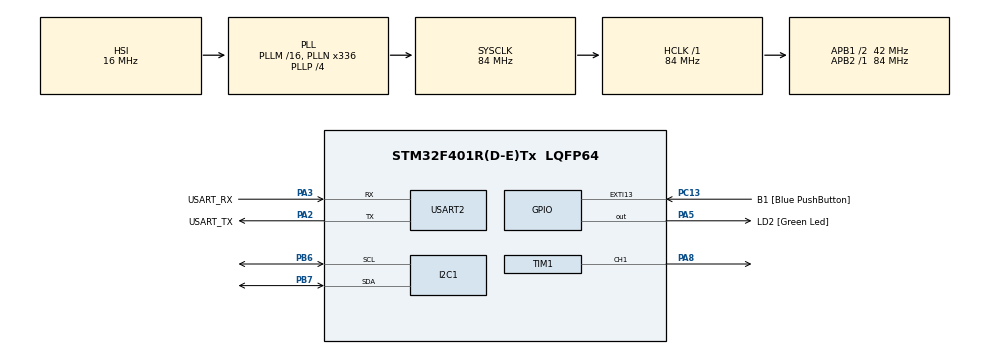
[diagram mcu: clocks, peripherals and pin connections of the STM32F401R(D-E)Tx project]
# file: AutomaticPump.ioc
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Mcu.Family=STM32F4
Mcu.Name=STM32F401R(D-E)Tx
Mcu.Package=LQFP64
NVIC.PriorityGroup=NVIC_PRIORITYGROUP_0
PA13.GPIO_Label=TMS
PA13.Mode=Serial_Wire
PA13.Signal=SYS_JTMS-SWDIO
PA14.GPIO_Label=TCK
PA14.Mode=Serial_Wire
PA14.Signal=SYS_JTCK-SWCLK
PA2.GPIO_Label=USART_TX
PA2.GPIO_Mode=GPIO_MODE_AF_PP
PA2.GPIO_PuPd=GPIO_NOPULL
PA2.GPIO_Speed=GPIO_SPEED_FREQ_LOW
PA2.Mode=Asynchronous
PA2.Signal=USART2_TX
PA3.GPIO_Label=USART_RX
PA3.GPIO_Mode=GPIO_MODE_AF_PP
PA3.GPIO_PuPd=GPIO_NOPULL
PA3.GPIO_Speed=GPIO_SPEED_FREQ_LOW
PA3.Mode=Asynchronous
PA3.Signal=USART2_RX
PA5.GPIO_Label=LD2 [Green Led]
PA5.GPIO_Mode=GPIO_MODE_OUTPUT_PP
PA5.GPIO_PuPd=GPIO_NOPULL
PA5.GPIO_Speed=GPIO_SPEED_FREQ_LOW
PA5.Signal=GPIO_Output
PA8.Signal=S_TIM1_CH1
PB3.GPIO_Label=SWO
PB3.Signal=SYS_JTDO-SWO
PB6.Mode=I2C
PB6.Signal=I2C1_SCL
PB7.Mode=I2C
PB7.Signal=I2C1_SDA
PC13-ANTI_TAMP.GPIO_Label=B1 [Blue PushButton]
PC13-ANTI_TAMP.GPIO_ModeDefaultEXTI=GPIO_MODE_IT_FALLING
PC13-ANTI_TAMP.GPIO_PuPd=GPIO_NOPULL
PC13-ANTI_TAMP.Signal=GPXTI13
PC14-OSC32_IN.Mode=LSE-External-Oscillator
PC14-OSC32_IN.Signal=RCC_OSC32_IN
PC15-OSC32_OUT.Mode=LSE-External-Oscillator
PC15-OSC32_OUT.Signal=RCC_OSC32_OUT
PH0\ -\ OSC_IN.Mode=HSE-External-Clock-Source
PH0\ -\ OSC_IN.Signal=RCC_OSC_IN
PH1\ -\ OSC_OUT.Mode=HSE-External-Clock-Source
PH1\ -\ OSC_OUT.Signal=RCC_OSC_OUT
ProjectManager.HeapSize=0x200
ProjectManager.StackSize=0x400
ProjectManager.TargetToolchain=STM32CubeIDE
RCC.48MHZClocksFreq_Value=48000000
RCC.AHBFreq_Value=84000000
RCC.APB1CLKDivider=RCC_HCLK_DIV2
RCC.APB1Freq_Value=42000000
RCC.APB1TimFreq_Value=84000000
RCC.APB2Freq_Value=84000000
RCC.APB2TimFreq_Value=84000000
RCC.CortexFreq_Value=84000000
RCC.HCLKFreq_Value=84000000
RCC.HSE_VALUE=8000000
RCC.HSI_VALUE=16000000
RCC.PLLN=336
RCC.PLLP=RCC_PLLP_DIV4
RCC.PLLQ=7
RCC.SYSCLKFreq_VALUE=84000000
RCC.SYSCLKSource=RCC_SYSCLKSOURCE_PLLCLK
RCC.VCOOutputFreq_Value=336000000
SH.S_TIM1_CH1.0=TIM1_CH1,Output Compare1 CH1
TIM1.Channel-Output\ Compare1\ CH1=TIM_CHANNEL_1
USART2.VirtualMode=VM_ASYNC
board=NUCLEO-F401RE

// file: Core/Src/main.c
/* USER CODE BEGIN Header */
/**
  ******************************************************************************
  * @file           : main.c
  * @brief          : Main program body
  ******************************************************************************
  * @attention
  *
  * Copyright (c) 2024 STMicroelectronics.
  * All rights reserved.
  *
  * This software is licensed under terms that can be found in the LICENSE file
  * in the root directory of this software component.
  * If no LICENSE file comes with this software, it is provided AS-IS.
  *
  ******************************************************************************
  */
/* USER CODE END Header */
#include "main.h"

I2C_HandleTypeDef hi2c1;

TIM_HandleTypeDef htim1;

UART_HandleTypeDef huart2;

void SystemClock_Config(void);
static void MX_GPIO_Init(void);
static void MX_USART2_UART_Init(void);
static void MX_I2C1_Init(void);
static void MX_TIM1_Init(void);

/* USER CODE BEGIN 0 */
TIM_HandleTypeDef htim1;
I2C_HandleTypeDef hi2c1;

#define START_HOUR_1   8   // Start hour for interval 1
#define START_MINUTE_1 0   // Start minute for interval 1
#define DURATION_1     10  // Duration in minutes for interval 1

#define START_HOUR_2   16  // Start hour for interval 2
#define START_MINUTE_2 31  // Start minute for interval 2
#define DURATION_2     2   // Duration in minutes for interval 2

// Reads the registers of the of the connected RTC device
// Connected on I2C1 SDA and SCL lines
uint8_t ReadRTCRegister(uint8_t register_address)
{
    uint8_t data;
    HAL_StatusTypeDef status = HAL_I2C_Mem_Read(&hi2c1, 0x68 << 1, register_address, I2C_MEMADD_SIZE_8BIT, &data, 1, HAL_MAX_DELAY);
    if (status != HAL_OK)
    {
        printf("Error reading register 0x%02X\n", register_address);
        return 0xFF; // Return error code
    }
    return data;
}

// Reads and returns the seconds, minutes and, hours of the RTC
void ReadRTC(uint8_t *hours, uint8_t *minutes, uint8_t *seconds)
{
    // Read RTC registers
    uint8_t reg_seconds = ReadRTCRegister(0x00);
    uint8_t reg_minutes = ReadRTCRegister(0x01);
    uint8_t reg_hours = ReadRTCRegister(0x02);

    // Convert BCD to decimal
    *seconds = ((reg_seconds >> 4) * 10) + (reg_seconds & 0x0F);
    *minutes = ((reg_minutes >> 4) * 10) + (reg_minutes & 0x0F);
    *hours = ((reg_hours >> 4) * 10) + (reg_hours & 0x0F);
}

// Configurations of the PWM pins for the connected MOSFET
// Connected on TIM1_CH1
void ConfigureTIM1ForPWM(void)
{
    TIM_OC_InitTypeDef sConfigOC = {0};

    // Configure TIM1 for PWM mode
    sConfigOC.OCMode = TIM_OCMODE_PWM1;
    sConfigOC.Pulse = __HAL_TIM_GET_AUTORELOAD(&htim1); // Full duty cycle (match auto-reload value)
    sConfigOC.OCPolarity = TIM_OCPOLARITY_HIGH;
    sConfigOC.OCNPolarity = TIM_OCNPOLARITY_HIGH;
    sConfigOC.OCFastMode = TIM_OCFAST_DISABLE;
    sConfigOC.OCIdleState = TIM_OCIDLESTATE_RESET;
    sConfigOC.OCNIdleState = TIM_OCNIDLESTATE_RESET;

    // Initialize TIM1 with PWM settings
    if (HAL_TIM_PWM_ConfigChannel(&htim1, &sConfigOC, TIM_CHANNEL_1) != HAL_OK)
    {
        Error_Handler();
    }

}

// Function to check if current time matches the trigger times
static uint8_t active_interval = 0; // 0: none, 1: interval 1, 2: interval 2
static uint8_t timer_active = 0;

// Checks the time and triggers the TIM1_CH1 PWM line to trigger the stepper pump
void CheckAndTriggerTimer(void)
{
    uint8_t hours, minutes, seconds;
    ReadRTC(&hours, &minutes, &seconds);

    // Determine if the current time matches any of the start times
    uint8_t is_start_time_1 = (hours == START_HOUR_1 && minutes == START_MINUTE_1);
    uint8_t is_start_time_2 = (hours == START_HOUR_2 && minutes == START_MINUTE_2);

    if ((is_start_time_1 || is_start_time_2) && !timer_active)
    {
        uint8_t start_hours = hours;
        uint8_t start_minutes = minutes;
        uint8_t start_seconds = seconds;

        ConfigureTIM1ForPWM();
        HAL_TIM_PWM_Start(&htim1, TIM_CHANNEL_1); // Start PWM

        timer_active = 1;

        if (is_start_time_1) {
            active_interval = 1;
        } else if (is_start_time_2) {
            active_interval = 2;
        }

        while (1)
        {
            ReadRTC(&hours, &minutes, &seconds);

            // Calculate the total elapsed minutes
            int elapsed_minutes = (hours - start_hours) * 60 + (minutes - start_minutes);

            // Check if the duration for the active interval has passed
            if ((active_interval == 1 && elapsed_minutes >= DURATION_1) ||
                (active_interval == 2 && elapsed_minutes >= DURATION_2))
            {
                HAL_TIM_PWM_Stop(&htim1, TIM_CHANNEL_1); // Ensure PWM is stopped
                HAL_Delay(1000); // Adjust delay as necessary
                timer_active = 0;
                active_interval = 0; // Reset active interval
                break; // Exit the loop
            }

            HAL_Delay(1000); // Adjust delay as necessary
        }
    }
}

// Power up function to prime the system at power failure
void PowerUp(void)
{
    uint8_t start_hours, start_minutes, start_seconds;
    ReadRTC(&start_hours, &start_minutes, &start_seconds);

    uint8_t current_hours, current_minutes, current_seconds;

    // Configure TIM1 for PWM
    ConfigureTIM1ForPWM();
    HAL_TIM_PWM_Start(&htim1, TIM_CHANNEL_1); // Start PWM

    // Poll until 10 minutes have passed
    while (1)
    {
        ReadRTC(&current_hours, &current_minutes, &current_seconds);

        // Calculate the total elapsed minutes
        int elapsed_minutes = (current_hours - start_hours) * 60 + (current_minutes - start_minutes);

        // Check if 10 minutes have passed
        if (elapsed_minutes >= 1)
        {
            // Stop PWM
        	HAL_TIM_PWM_Stop(&htim1, TIM_CHANNEL_1); // Ensure PWM is stopped
            HAL_Delay(1000); // Adjust delay as necessary
            break; // Exit the loop to proceed to the main while loop
        }

        // Add a short delay to avoid excessive polling
        HAL_Delay(1000); // Adjust delay as necessary
    }
}

void HandleButtonPress(void)
{
    static uint8_t button_pressed = 0; // Static variable to maintain state across function calls
    static uint32_t last_press_time = 0; // Store the last button press time

    if (HAL_GPIO_ReadPin(GPIOC, B1_Pin) == GPIO_PIN_RESET) {
        // Debounce check: only register if enough time has passed since last press
        if (HAL_GetTick() - last_press_time > 50) {
            // Wait until the button is released
            while (HAL_GPIO_ReadPin(GPIOC, B1_Pin) == GPIO_PIN_RESET);

            // Toggle the button state
            button_pressed = !button_pressed;

            // Store the current time as the last press time
            last_press_time = HAL_GetTick();

            // If the button is pressed, enter a while loop
            if (button_pressed) {
                // Turn on the LED/motor
                ConfigureTIM1ForPWM();
                HAL_TIM_PWM_Start(&htim1, TIM_CHANNEL_1); // Start PWM

                // Stay in this loop until the button is pressed again
                while (button_pressed) {
                    if (HAL_GPIO_ReadPin(GPIOC, B1_Pin) == GPIO_PIN_RESET) {
                        // Debounce check: only register if enough time has passed since last press
                        if (HAL_GetTick() - last_press_time > 50) {
                            // Wait until the button is released
                            while (HAL_GPIO_ReadPin(GPIOC, B1_Pin) == GPIO_PIN_RESET);

                            // Break the loop by toggling the button state
                            button_pressed = 0;

                            // Store the current time as the last press time
                            last_press_time = HAL_GetTick();

                            // Turn off the LED/motor
                            HAL_TIM_PWM_Stop(&htim1, TIM_CHANNEL_1); // Ensure PWM is stopped
                        }
                    }
                    // You can add other tasks here that should run while in the loop
                }
            }
        }
    }
}

#define RTC_ADDRESS 0x68 // I2C address of the RTC module

// Write's a single byte to a register
void WriteRTCRegister(uint8_t register_address, uint8_t data)
{
    HAL_I2C_Mem_Write(&hi2c1, RTC_ADDRESS << 1, register_address, I2C_MEMADD_SIZE_8BIT, &data, 1, HAL_MAX_DELAY);
}

// Set the date and time of the connected RTC
void SetRTCDateTime(uint8_t second, uint8_t minute, uint8_t hour, uint8_t day, uint8_t date, uint8_t month, uint8_t year)
{
    // Convert decimal to BCD (Binary-Coded Decimal)
    uint8_t data[7];
    data[0] = (second / 10) << 4 | (second % 10);
    data[1] = (minute / 10) << 4 | (minute % 10);
    data[2] = (hour / 10) << 4 | (hour % 10);
    data[3] = (day / 10) << 4 | (day % 10);
    data[4] = (date / 10) << 4 | (date % 10);
    data[5] = (month / 10) << 4 | (month % 10);
    data[6] = (year / 10) << 4 | (year % 10);

    // Write to RTC registers (order might vary based on RTC model)
    WriteRTCRegister(0x00, data[0]); // Seconds
    WriteRTCRegister(0x01, data[1]); // Minutes
    WriteRTCRegister(0x02, data[2]); // Hours
    WriteRTCRegister(0x03, data[3]); // Day
    WriteRTCRegister(0x04, data[4]); // Date
    WriteRTCRegister(0x05, data[5]); // Month
    WriteRTCRegister(0x06, data[6]); // Year
}
/* USER CODE END 0 */

int main(void)
{

  /* MCU Configuration--------------------------------------------------------*/

  /* Reset of all peripherals, Initializes the Flash interface and the Systick. */
  HAL_Init();

  /* Configure the system clock */
  SystemClock_Config();

  /* Initialize all configured peripherals */
  MX_GPIO_Init();
  MX_USART2_UART_Init();
  MX_I2C1_Init();
  MX_TIM1_Init();
  /* USER CODE BEGIN 2 */
  PowerUp();

  /* USER CODE END 2 */

  /* Infinite loop */
  while (1)
  {
	  HandleButtonPress();
      CheckAndTriggerTimer();
      HAL_Delay(1000); // Delay to prevent excessive RTC polling
  }
}

void SystemClock_Config(void)
{
  RCC_OscInitTypeDef RCC_OscInitStruct = {0};
  RCC_ClkInitTypeDef RCC_ClkInitStruct = {0};

  /** Configure the main internal regulator output voltage
  */
  __HAL_RCC_PWR_CLK_ENABLE();
  __HAL_PWR_VOLTAGESCALING_CONFIG(PWR_REGULATOR_VOLTAGE_SCALE2);

  /** Initializes the RCC Oscillators according to the specified parameters
  * in the RCC_OscInitTypeDef structure.
  */
  RCC_OscInitStruct.OscillatorType = RCC_OSCILLATORTYPE_HSI;
  RCC_OscInitStruct.HSIState = RCC_HSI_ON;
  RCC_OscInitStruct.HSICalibrationValue = RCC_HSICALIBRATION_DEFAULT;
  RCC_OscInitStruct.PLL.PLLState = RCC_PLL_ON;
  RCC_OscInitStruct.PLL.PLLSource = RCC_PLLSOURCE_HSI;
  RCC_OscInitStruct.PLL.PLLM = 16;
  RCC_OscInitStruct.PLL.PLLN = 336;
  RCC_OscInitStruct.PLL.PLLP = RCC_PLLP_DIV4;
  RCC_OscInitStruct.PLL.PLLQ = 7;
  if (HAL_RCC_OscConfig(&RCC_OscInitStruct) != HAL_OK)
  {
    Error_Handler();
  }

  /** Initializes the CPU, AHB and APB buses clocks
  */
  RCC_ClkInitStruct.ClockType = RCC_CLOCKTYPE_HCLK|RCC_CLOCKTYPE_SYSCLK
                              |RCC_CLOCKTYPE_PCLK1|RCC_CLOCKTYPE_PCLK2;
  RCC_ClkInitStruct.SYSCLKSource = RCC_SYSCLKSOURCE_PLLCLK;
  RCC_ClkInitStruct.AHBCLKDivider = RCC_SYSCLK_DIV1;
  RCC_ClkInitStruct.APB1CLKDivider = RCC_HCLK_DIV2;
  RCC_ClkInitStruct.APB2CLKDivider = RCC_HCLK_DIV1;

  if (HAL_RCC_ClockConfig(&RCC_ClkInitStruct, FLASH_LATENCY_2) != HAL_OK)
  {
    Error_Handler();
  }
}

static void MX_I2C1_Init(void)
{

  hi2c1.Instance = I2C1;
  hi2c1.Init.ClockSpeed = 100000;
  hi2c1.Init.DutyCycle = I2C_DUTYCYCLE_2;
  hi2c1.Init.OwnAddress1 = 0;
  hi2c1.Init.AddressingMode = I2C_ADDRESSINGMODE_7BIT;
  hi2c1.Init.DualAddressMode = I2C_DUALADDRESS_DISABLE;
  hi2c1.Init.OwnAddress2 = 0;
  hi2c1.Init.GeneralCallMode = I2C_GENERALCALL_DISABLE;
  hi2c1.Init.NoStretchMode = I2C_NOSTRETCH_DISABLE;
  if (HAL_I2C_Init(&hi2c1) != HAL_OK)
  {
    Error_Handler();
  }

}

static void MX_TIM1_Init(void)
{

  TIM_MasterConfigTypeDef sMasterConfig = {0};
  TIM_OC_InitTypeDef sConfigOC = {0};
  TIM_BreakDeadTimeConfigTypeDef sBreakDeadTimeConfig = {0};

  htim1.Instance = TIM1;
  htim1.Init.Prescaler = 0;
  htim1.Init.CounterMode = TIM_COUNTERMODE_UP;
  htim1.Init.Period = 65535;
  htim1.Init.ClockDivision = TIM_CLOCKDIVISION_DIV1;
  htim1.Init.RepetitionCounter = 0;
  htim1.Init.AutoReloadPreload = TIM_AUTORELOAD_PRELOAD_DISABLE;
  if (HAL_TIM_OC_Init(&htim1) != HAL_OK)
  {
    Error_Handler();
  }
  sMasterConfig.MasterOutputTrigger = TIM_TRGO_RESET;
  sMasterConfig.MasterSlaveMode = TIM_MASTERSLAVEMODE_DISABLE;
  if (HAL_TIMEx_MasterConfigSynchronization(&htim1, &sMasterConfig) != HAL_OK)
  {
    Error_Handler();
  }
  sConfigOC.OCMode = TIM_OCMODE_TIMING;
  sConfigOC.Pulse = 0;
  sConfigOC.OCPolarity = TIM_OCPOLARITY_HIGH;
  sConfigOC.OCNPolarity = TIM_OCNPOLARITY_HIGH;
  sConfigOC.OCFastMode = TIM_OCFAST_DISABLE;
  sConfigOC.OCIdleState = TIM_OCIDLESTATE_RESET;
  sConfigOC.OCNIdleState = TIM_OCNIDLESTATE_RESET;
  if (HAL_TIM_OC_ConfigChannel(&htim1, &sConfigOC, TIM_CHANNEL_1) != HAL_OK)
  {
    Error_Handler();
  }
  sBreakDeadTimeConfig.OffStateRunMode = TIM_OSSR_DISABLE;
  sBreakDeadTimeConfig.OffStateIDLEMode = TIM_OSSI_DISABLE;
  sBreakDeadTimeConfig.LockLevel = TIM_LOCKLEVEL_OFF;
  sBreakDeadTimeConfig.DeadTime = 0;
  sBreakDeadTimeConfig.BreakState = TIM_BREAK_DISABLE;
  sBreakDeadTimeConfig.BreakPolarity = TIM_BREAKPOLARITY_HIGH;
  sBreakDeadTimeConfig.AutomaticOutput = TIM_AUTOMATICOUTPUT_DISABLE;
  if (HAL_TIMEx_ConfigBreakDeadTime(&htim1, &sBreakDeadTimeConfig) != HAL_OK)
  {
    Error_Handler();
  }
  HAL_TIM_MspPostInit(&htim1);

}

static void MX_USART2_UART_Init(void)
{

  huart2.Instance = USART2;
  huart2.Init.BaudRate = 115200;
  huart2.Init.WordLength = UART_WORDLENGTH_8B;
  huart2.Init.StopBits = UART_STOPBITS_1;
  huart2.Init.Parity = UART_PARITY_NONE;
  huart2.Init.Mode = UART_MODE_TX_RX;
  huart2.Init.HwFlowCtl = UART_HWCONTROL_NONE;
  huart2.Init.OverSampling = UART_OVERSAMPLING_16;
  if (HAL_UART_Init(&huart2) != HAL_OK)
  {
    Error_Handler();
  }

}

static void MX_GPIO_Init(void)
{
  GPIO_InitTypeDef GPIO_InitStruct = {0};

  /* GPIO Ports Clock Enable */
  __HAL_RCC_GPIOC_CLK_ENABLE();
  __HAL_RCC_GPIOH_CLK_ENABLE();
  __HAL_RCC_GPIOA_CLK_ENABLE();
  __HAL_RCC_GPIOB_CLK_ENABLE();

  /*Configure GPIO pin Output Level */
  HAL_GPIO_WritePin(LD2_GPIO_Port, LD2_Pin, GPIO_PIN_RESET);

  /*Configure GPIO pin : B1_Pin */
  GPIO_InitStruct.Pin = B1_Pin;
  GPIO_InitStruct.Mode = GPIO_MODE_IT_FALLING;
  GPIO_InitStruct.Pull = GPIO_NOPULL;
  HAL_GPIO_Init(B1_GPIO_Port, &GPIO_InitStruct);

  /*Configure GPIO pin : LD2_Pin */
  GPIO_InitStruct.Pin = LD2_Pin;
  GPIO_InitStruct.Mode = GPIO_MODE_OUTPUT_PP;
  GPIO_InitStruct.Pull = GPIO_NOPULL;
  GPIO_InitStruct.Speed = GPIO_SPEED_FREQ_LOW;
  HAL_GPIO_Init(LD2_GPIO_Port, &GPIO_InitStruct);

}

void Error_Handler(void)
{
  __disable_irq();
  while (1)
  {
  }
}
